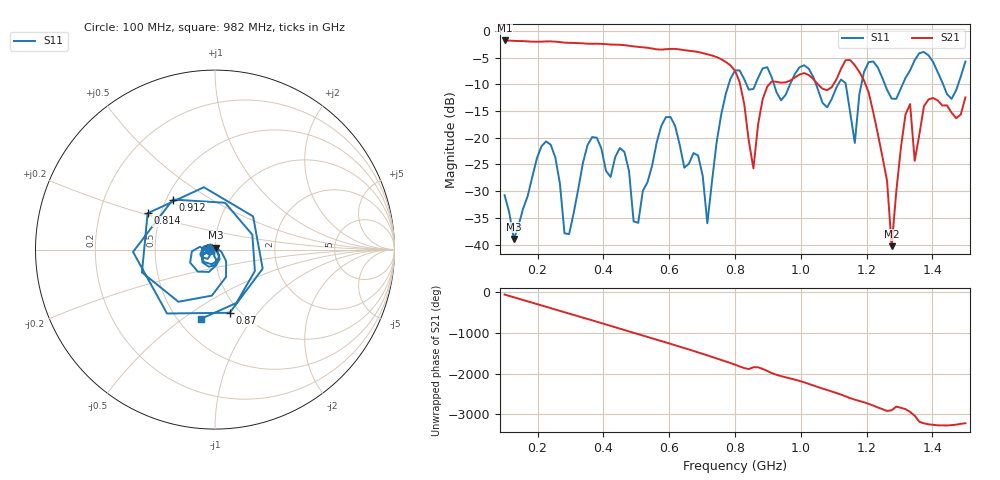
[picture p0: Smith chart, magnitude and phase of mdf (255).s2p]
! NanoVNA-App
! Date: 2025-09-25 15:40:24
! Start: 100MHz Stop: 1,5GHz Points: 101
! S-Parameter data: F S11 S21 S12 S22
# Hz S RI R 50
!  Frequency  S11_Real  S11_Imag  S21_Real  S21_Imag  S12_Real  S12_Imag  S22_Real  S22_Imag
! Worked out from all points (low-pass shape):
!   101 points, 100 MHz to 1.5 GHz, reference 50 ohm
!   highest |S21| = -1.80 dB at 100 MHz (marker M1); lowest = -40.3 dB at 1.276 GHz (marker M2)
!   |S21| within 3 dB of the highest: start of sweep to 739.2 MHz
!   lowest |S11| = -39.0 dB at 128 MHz (marker M3), VSWR 1.02, Z = 50.3 + j1.08 ohm
!   |S11| at or under -10 dB: start of sweep to 781 MHz; 1.046 GHz to 1.114 GHz (67.7 MHz wide, 6.27 % of centre); 1.255 GHz to 1.309 GHz (54.16 MHz wide, 4.22 % of centre) (the widest 3 of 7)
!   S12 and S22 are empty: the file has one direction only
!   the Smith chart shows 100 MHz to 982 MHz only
!   S11 on the Smith chart (normalised r, x): 100 MHz: 0.94, -0.01; 814 MHz: 0.42, +0.21; 870 MHz: 0.90, -0.73; 912 MHz: 0.54, +0.35; 982 MHz: 0.64, -0.59
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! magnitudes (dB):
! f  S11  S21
! 100 MHz  -30.8  -1.8
! 128 MHz  -39.0  -1.9
! 212 MHz  -21.6  -2.0
! 282 MHz  -37.9  -2.2
! 338 MHz  -24.7  -2.3
! 464 MHz  -22.6  -2.7
! 506 MHz  -35.9  -3.0
! 576 MHz  -17.8  -3.5
! 716 MHz  -36.0  -4.4
! 800 MHz  -7.4  -7.5
! 814 MHz  -7.4  -9.6
! 856 MHz  -10.9  -25.7
! 870 MHz  -8.8  -17.6
! 912 MHz  -8.8  -9.5
! 982 MHz  -8.1  -8.7
! 1.038 GHz  -8.7  -9.0
! 1.164 GHz  -21.0  -6.4
! 1.192 GHz  -7.7  -9.3
! 1.276 GHz  -12.7  -40.3
! 1.332 GHz  -7.4  -13.7
! 1.346 GHz  -5.5  -24.3
! 1.5 GHz  -5.7  -12.4
